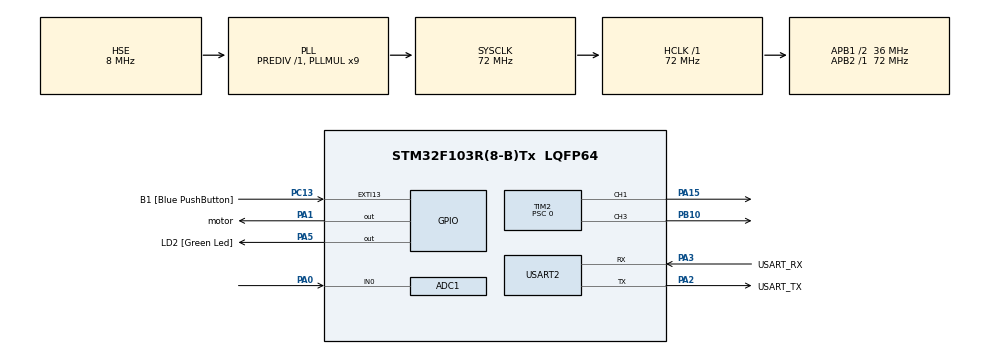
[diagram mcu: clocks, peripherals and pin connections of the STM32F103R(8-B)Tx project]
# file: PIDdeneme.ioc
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ADC1.Channel-3\#ChannelRegularConversion=ADC_CHANNEL_0
ADC1.ContinuousConvMode=ENABLE
ADC1.NbrOfConversionFlag=1
ADC1.Rank-3\#ChannelRegularConversion=1
ADC1.SamplingTime-3\#ChannelRegularConversion=ADC_SAMPLETIME_239CYCLES_5
ADC1.master=1
Dma.ADC1.0.Direction=DMA_PERIPH_TO_MEMORY
Dma.ADC1.0.Instance=DMA1_Channel1
Dma.ADC1.0.MemDataAlignment=DMA_MDATAALIGN_WORD
Dma.ADC1.0.MemInc=DMA_MINC_ENABLE
Dma.ADC1.0.Mode=DMA_CIRCULAR
Dma.ADC1.0.PeriphDataAlignment=DMA_PDATAALIGN_WORD
Dma.ADC1.0.PeriphInc=DMA_PINC_DISABLE
Dma.ADC1.0.Priority=DMA_PRIORITY_LOW
Dma.Request0=ADC1
Mcu.Family=STM32F1
Mcu.Name=STM32F103R(8-B)Tx
Mcu.Package=LQFP64
NVIC.DMA1_Channel1_IRQn=true\:0\:0\:false\:false\:true\:false\:true
NVIC.EXTI15_10_IRQn=true\:0\:0\:false\:false\:true\:true\:true
NVIC.PriorityGroup=NVIC_PRIORITYGROUP_4
PA0-WKUP.Signal=ADCx_IN0
PA1.GPIO_Label=motor
PA1.GPIO_PuPd=GPIO_PULLDOWN
PA1.GPIO_Speed=GPIO_SPEED_FREQ_LOW
PA1.Signal=GPIO_Output
PA13.GPIO_Label=TMS
PA13.Mode=Serial_Wire
PA13.Signal=SYS_JTMS-SWDIO
PA14.GPIO_Label=TCK
PA14.Mode=Serial_Wire
PA14.Signal=SYS_JTCK-SWCLK
PA15.Signal=S_TIM2_CH1_ETR
PA2.GPIO_Label=USART_TX
PA2.GPIO_Mode=GPIO_MODE_AF_PP
PA2.GPIO_PuPd=GPIO_NOPULL
PA2.GPIO_Speed=GPIO_SPEED_FREQ_LOW
PA2.Mode=Asynchronous
PA2.Signal=USART2_TX
PA3.GPIO_Label=USART_RX
PA3.GPIO_Mode=GPIO_MODE_AF_PP
PA3.GPIO_PuPd=GPIO_NOPULL
PA3.GPIO_Speed=GPIO_SPEED_FREQ_LOW
PA3.Mode=Asynchronous
PA3.Signal=USART2_RX
PA5.GPIO_Label=LD2 [Green Led]
PA5.GPIO_ModeDefaultOutputPP=GPIO_MODE_OUTPUT_PP
PA5.GPIO_PuPd=GPIO_NOPULL
PA5.GPIO_Speed=GPIO_SPEED_FREQ_LOW
PA5.Signal=GPIO_Output
PB10.Signal=S_TIM2_CH3
PB3.GPIO_Label=SWO
PB3.Signal=SYS_JTDO-TRACESWO
PC13-TAMPER-RTC.GPIO_Label=B1 [Blue PushButton]
PC13-TAMPER-RTC.GPIO_PuPd=GPIO_NOPULL
PC13-TAMPER-RTC.Signal=GPXTI13
PC14-OSC32_IN.Signal=RCC_OSC32_IN
PC15-OSC32_OUT.Signal=RCC_OSC32_OUT
PD0-OSC_IN.Mode=HSE-External-Oscillator
PD0-OSC_IN.Signal=RCC_OSC_IN
PD1-OSC_OUT.Mode=HSE-External-Oscillator
PD1-OSC_OUT.Signal=RCC_OSC_OUT
ProjectManager.HeapSize=0x200
ProjectManager.StackSize=0x400
ProjectManager.TargetToolchain=STM32CubeIDE
RCC.ADCPresc=RCC_ADCPCLK2_DIV6
RCC.AHBFreq_Value=72000000
RCC.APB1CLKDivider=RCC_HCLK_DIV2
RCC.APB1Freq_Value=36000000
RCC.APB1TimFreq_Value=72000000
RCC.APB2Freq_Value=72000000
RCC.APB2TimFreq_Value=72000000
RCC.HCLKFreq_Value=72000000
RCC.PLLMUL=RCC_PLL_MUL9
RCC.PLLSourceVirtual=RCC_PLLSOURCE_HSE
RCC.RTCClockSelection=RCC_RTCCLKSOURCE_LSE
RCC.SYSCLKFreq_VALUE=72000000
RCC.SYSCLKSource=RCC_SYSCLKSOURCE_PLLCLK
RCC.USBFreq_Value=72000000
SH.ADCx_IN0.0=ADC1_IN0,IN0
SH.S_TIM2_CH1_ETR.0=TIM2_CH1,PWM Generation1 CH1
SH.S_TIM2_CH3.0=TIM2_CH3,PWM Generation3 CH3
TIM2.Channel-PWM\ Generation1\ CH1=TIM_CHANNEL_1
TIM2.Channel-PWM\ Generation3\ CH3=TIM_CHANNEL_3
TIM2.Period=3599
TIM2.Prescaler=0
USART2.VirtualMode=VM_ASYNC
VP_TIM2_VS_ClockSourceINT.Mode=Internal
board=NUCLEO-F103RB

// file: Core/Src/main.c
/* USER CODE BEGIN Header */
/**
  ******************************************************************************
  * @file           : main.c
  * @brief          : Main program body
  ******************************************************************************
  * @attention
  *
  * <h2><center>&copy; Copyright (c) 2021 STMicroelectronics.
  * All rights reserved.</center></h2>
  *
  * This software component is licensed by ST under BSD 3-Clause license,
  * the "License"; You may not use this file except in compliance with the
  * License. You may obtain a copy of the License at:
  *                        opensource.org/licenses/BSD-3-Clause
  *
  ******************************************************************************
  */
/* USER CODE END Header */
#include "main.h"

/* USER CODE BEGIN Includes */
float kp=1000/*15.745*/,kd=0.0165,ki=0.066,error=0,oldError=0,area=0,oldArea=0;
float oransal=0,integral=0,turev=0;
float u = 0;
float set=2000, eskiSet=0;
int step=1;//ms
float l_time = 0;
float t_time = 0;
int baslangic = 0;
int tuneBasla = 1,etuneBasla=0;

/* USER CODE END Includes */

ADC_HandleTypeDef hadc1;
DMA_HandleTypeDef hdma_adc1;

TIM_HandleTypeDef htim2;

UART_HandleTypeDef huart2;

void SystemClock_Config(void);
static void MX_GPIO_Init(void);
static void MX_USART2_UART_Init(void);
static void MX_DMA_Init(void);
static void MX_ADC1_Init(void);
static void MX_TIM2_Init(void);

/* USER CODE BEGIN 0 */
uint32_t adcDeger[1];
uint32_t value1;
void HAL_ADC_ConvHalfCpltCallback(ADC_HandleTypeDef* hadc)
{
	value1=adcDeger[0];
}
/* USER CODE END 0 */

int main(void)
{

  /* MCU Configuration--------------------------------------------------------*/

  /* Reset of all peripherals, Initializes the Flash interface and the Systick. */
  HAL_Init();

  /* Configure the system clock */
  SystemClock_Config();

  /* Initialize all configured peripherals */
  MX_GPIO_Init();
  MX_USART2_UART_Init();
  MX_DMA_Init();
  MX_ADC1_Init();
  MX_TIM2_Init();
  /* USER CODE BEGIN 2 */
  HAL_ADC_Start_DMA(&hadc1,adcDeger,sizeof(adcDeger));

  HAL_TIM_PWM_Start(&htim2, TIM_CHANNEL_1);
  HAL_TIM_PWM_Start(&htim2, TIM_CHANNEL_3);
  /* USER CODE END 2 */

  /* Infinite loop */
  /* USER CODE BEGIN WHILE */
  HAL_Delay(500);
  baslangic = value1;
  while (1)
  {
	  if(((eskiSet+100)<set) || ((eskiSet-100)>set))
	  {
		  tuneBasla = 1;
		  baslangic=value1;
		  l_time = 0;
		  t_time = 0;
	  }
	  eskiSet=set;

	  if(etuneBasla==1 && tuneBasla==0)
	  {
		  kp = 1.2 * (t_time / l_time);
		  ki = 2.0 * (l_time/1000);
		  kd = 0.5 * (l_time/1000);
	  }
	  etuneBasla=tuneBasla;
	  if(tuneBasla == 1){
		  if(set>baslangic)
		  {
			  if((baslangic +50) > value1){
					  l_time++;
			  }
			  else if(value1 < set){
					  t_time++;
			  }
			  if(set  < value1){
				  tuneBasla = 0;
			  }
		  }
		  else
		  {
			  if((baslangic) < (value1+50)){
					  l_time++;
			  }
			  else if(value1 > set){
					  t_time++;
			  }
			  if(set > value1){
				  tuneBasla = 0;
			  }
		  }
	  }
	  error=set-value1;
	  oransal = kp*error;
	  integral = ki * (oldArea + ((error + oldError)*step) /2);
	  turev = kd * ((error - oldError) / step);

	  u = oransal + integral + turev;
	  oldArea=(oldArea + ((error + oldError)*step) /2);
	  oldError=error;

	  if(u>=0)
	  {
		  TIM2->CCR1 = u;
		  TIM2->CCR3 = 0;
	  }
	  else
	  {
		  u*=-1;
		  TIM2 -> CCR3 = u;
		  TIM2->CCR1 = 0;
	  }
	  if(u>=4000)
	  {
		  u=4000;
	  }
	  HAL_Delay(step);

    /* USER CODE END WHILE */

  }
}

void SystemClock_Config(void)
{
  RCC_OscInitTypeDef RCC_OscInitStruct = {0};
  RCC_ClkInitTypeDef RCC_ClkInitStruct = {0};
  RCC_PeriphCLKInitTypeDef PeriphClkInit = {0};

  /** Initializes the RCC Oscillators according to the specified parameters
  * in the RCC_OscInitTypeDef structure.
  */
  RCC_OscInitStruct.OscillatorType = RCC_OSCILLATORTYPE_HSE;
  RCC_OscInitStruct.HSEState = RCC_HSE_ON;
  RCC_OscInitStruct.HSEPredivValue = RCC_HSE_PREDIV_DIV1;
  RCC_OscInitStruct.HSIState = RCC_HSI_ON;
  RCC_OscInitStruct.PLL.PLLState = RCC_PLL_ON;
  RCC_OscInitStruct.PLL.PLLSource = RCC_PLLSOURCE_HSE;
  RCC_OscInitStruct.PLL.PLLMUL = RCC_PLL_MUL9;
  if (HAL_RCC_OscConfig(&RCC_OscInitStruct) != HAL_OK)
  {
    Error_Handler();
  }
  /** Initializes the CPU, AHB and APB buses clocks
  */
  RCC_ClkInitStruct.ClockType = RCC_CLOCKTYPE_HCLK|RCC_CLOCKTYPE_SYSCLK
                              |RCC_CLOCKTYPE_PCLK1|RCC_CLOCKTYPE_PCLK2;
  RCC_ClkInitStruct.SYSCLKSource = RCC_SYSCLKSOURCE_PLLCLK;
  RCC_ClkInitStruct.AHBCLKDivider = RCC_SYSCLK_DIV1;
  RCC_ClkInitStruct.APB1CLKDivider = RCC_HCLK_DIV2;
  RCC_ClkInitStruct.APB2CLKDivider = RCC_HCLK_DIV1;

  if (HAL_RCC_ClockConfig(&RCC_ClkInitStruct, FLASH_LATENCY_2) != HAL_OK)
  {
    Error_Handler();
  }
  PeriphClkInit.PeriphClockSelection = RCC_PERIPHCLK_ADC;
  PeriphClkInit.AdcClockSelection = RCC_ADCPCLK2_DIV6;
  if (HAL_RCCEx_PeriphCLKConfig(&PeriphClkInit) != HAL_OK)
  {
    Error_Handler();
  }
}

static void MX_ADC1_Init(void)
{

  ADC_ChannelConfTypeDef sConfig = {0};

  /** Common config
  */
  hadc1.Instance = ADC1;
  hadc1.Init.ScanConvMode = ADC_SCAN_DISABLE;
  hadc1.Init.ContinuousConvMode = ENABLE;
  hadc1.Init.DiscontinuousConvMode = DISABLE;
  hadc1.Init.ExternalTrigConv = ADC_SOFTWARE_START;
  hadc1.Init.DataAlign = ADC_DATAALIGN_RIGHT;
  hadc1.Init.NbrOfConversion = 1;
  if (HAL_ADC_Init(&hadc1) != HAL_OK)
  {
    Error_Handler();
  }
  /** Configure Regular Channel
  */
  sConfig.Channel = ADC_CHANNEL_0;
  sConfig.Rank = ADC_REGULAR_RANK_1;
  sConfig.SamplingTime = ADC_SAMPLETIME_239CYCLES_5;
  if (HAL_ADC_ConfigChannel(&hadc1, &sConfig) != HAL_OK)
  {
    Error_Handler();
  }

}

static void MX_TIM2_Init(void)
{

  TIM_ClockConfigTypeDef sClockSourceConfig = {0};
  TIM_MasterConfigTypeDef sMasterConfig = {0};
  TIM_OC_InitTypeDef sConfigOC = {0};

  htim2.Instance = TIM2;
  htim2.Init.Prescaler = 0;
  htim2.Init.CounterMode = TIM_COUNTERMODE_UP;
  htim2.Init.Period = 3599;
  htim2.Init.ClockDivision = TIM_CLOCKDIVISION_DIV1;
  htim2.Init.AutoReloadPreload = TIM_AUTORELOAD_PRELOAD_DISABLE;
  if (HAL_TIM_Base_Init(&htim2) != HAL_OK)
  {
    Error_Handler();
  }
  sClockSourceConfig.ClockSource = TIM_CLOCKSOURCE_INTERNAL;
  if (HAL_TIM_ConfigClockSource(&htim2, &sClockSourceConfig) != HAL_OK)
  {
    Error_Handler();
  }
  if (HAL_TIM_PWM_Init(&htim2) != HAL_OK)
  {
    Error_Handler();
  }
  sMasterConfig.MasterOutputTrigger = TIM_TRGO_RESET;
  sMasterConfig.MasterSlaveMode = TIM_MASTERSLAVEMODE_DISABLE;
  if (HAL_TIMEx_MasterConfigSynchronization(&htim2, &sMasterConfig) != HAL_OK)
  {
    Error_Handler();
  }
  sConfigOC.OCMode = TIM_OCMODE_PWM1;
  sConfigOC.Pulse = 0;
  sConfigOC.OCPolarity = TIM_OCPOLARITY_HIGH;
  sConfigOC.OCFastMode = TIM_OCFAST_DISABLE;
  if (HAL_TIM_PWM_ConfigChannel(&htim2, &sConfigOC, TIM_CHANNEL_1) != HAL_OK)
  {
    Error_Handler();
  }
  if (HAL_TIM_PWM_ConfigChannel(&htim2, &sConfigOC, TIM_CHANNEL_3) != HAL_OK)
  {
    Error_Handler();
  }
  HAL_TIM_MspPostInit(&htim2);

}

static void MX_USART2_UART_Init(void)
{

  huart2.Instance = USART2;
  huart2.Init.BaudRate = 115200;
  huart2.Init.WordLength = UART_WORDLENGTH_8B;
  huart2.Init.StopBits = UART_STOPBITS_1;
  huart2.Init.Parity = UART_PARITY_NONE;
  huart2.Init.Mode = UART_MODE_TX_RX;
  huart2.Init.HwFlowCtl = UART_HWCONTROL_NONE;
  huart2.Init.OverSampling = UART_OVERSAMPLING_16;
  if (HAL_UART_Init(&huart2) != HAL_OK)
  {
    Error_Handler();
  }

}

static void MX_DMA_Init(void)
{

  /* DMA controller clock enable */
  __HAL_RCC_DMA1_CLK_ENABLE();

  /* DMA interrupt init */
  /* DMA1_Channel1_IRQn interrupt configuration */
  HAL_NVIC_SetPriority(DMA1_Channel1_IRQn, 0, 0);
  HAL_NVIC_EnableIRQ(DMA1_Channel1_IRQn);

}

static void MX_GPIO_Init(void)
{
  GPIO_InitTypeDef GPIO_InitStruct = {0};

  /* GPIO Ports Clock Enable */
  __HAL_RCC_GPIOC_CLK_ENABLE();
  __HAL_RCC_GPIOD_CLK_ENABLE();
  __HAL_RCC_GPIOA_CLK_ENABLE();
  __HAL_RCC_GPIOB_CLK_ENABLE();

  /*Configure GPIO pin Output Level */
  HAL_GPIO_WritePin(GPIOA, motor_Pin|LD2_Pin, GPIO_PIN_RESET);

  /*Configure GPIO pin : B1_Pin */
  GPIO_InitStruct.Pin = B1_Pin;
  GPIO_InitStruct.Mode = GPIO_MODE_IT_RISING;
  GPIO_InitStruct.Pull = GPIO_NOPULL;
  HAL_GPIO_Init(B1_GPIO_Port, &GPIO_InitStruct);

  /*Configure GPIO pin : motor_Pin */
  GPIO_InitStruct.Pin = motor_Pin;
  GPIO_InitStruct.Mode = GPIO_MODE_OUTPUT_PP;
  GPIO_InitStruct.Pull = GPIO_PULLDOWN;
  GPIO_InitStruct.Speed = GPIO_SPEED_FREQ_LOW;
  HAL_GPIO_Init(motor_GPIO_Port, &GPIO_InitStruct);

  /*Configure GPIO pin : LD2_Pin */
  GPIO_InitStruct.Pin = LD2_Pin;
  GPIO_InitStruct.Mode = GPIO_MODE_OUTPUT_PP;
  GPIO_InitStruct.Pull = GPIO_NOPULL;
  GPIO_InitStruct.Speed = GPIO_SPEED_FREQ_LOW;
  HAL_GPIO_Init(LD2_GPIO_Port, &GPIO_InitStruct);

  /* EXTI interrupt init*/
  HAL_NVIC_SetPriority(EXTI15_10_IRQn, 0, 0);
  HAL_NVIC_EnableIRQ(EXTI15_10_IRQn);

}

void Error_Handler(void)
{
  __disable_irq();
  while (1)
  {
  }
}

/************************ (C) COPYRIGHT STMicroelectronics *****END OF FILE****/
